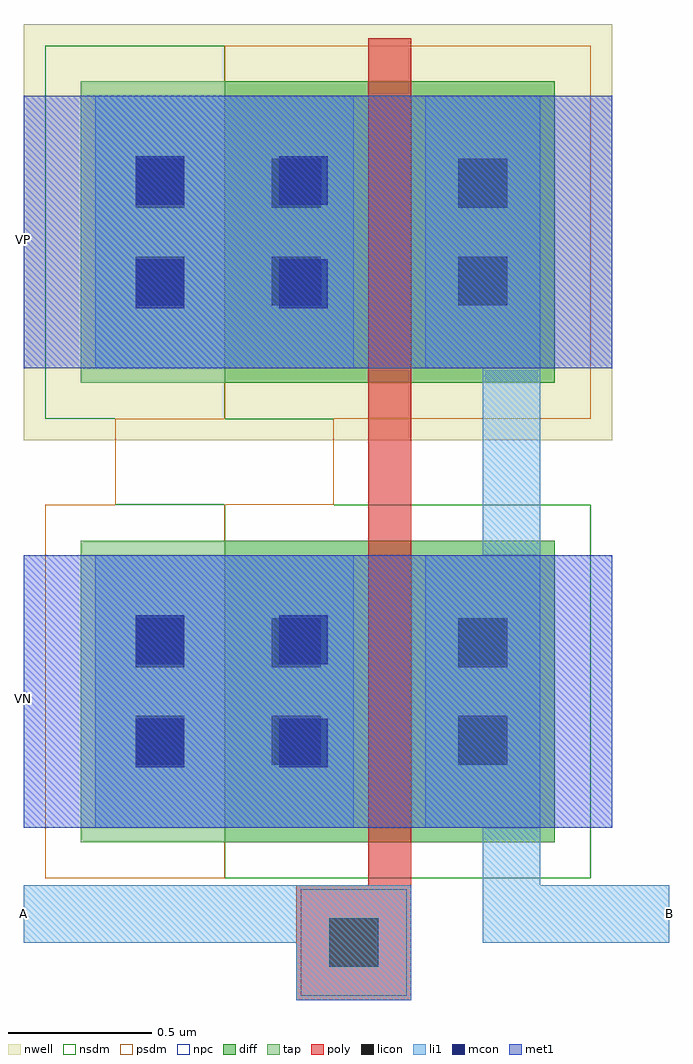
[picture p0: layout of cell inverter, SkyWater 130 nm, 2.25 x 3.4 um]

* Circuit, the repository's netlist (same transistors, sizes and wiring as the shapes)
* NGSPICE file created from inverter.ext - technology: sky130A

.subckt inverter A B VP VN
X0 B A VP VP sky130_fd_pr__pfet_01v8 ad=0.525 pd=3.1 as=0.525 ps=3.1 w=1.05 l=0.15
X1 B A VN VN sky130_fd_pr__nfet_01v8 ad=0.525 pd=3.1 as=0.525 ps=3.1 w=1.05 l=0.15
.ends

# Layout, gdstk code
import gdstk
lib = gdstk.Library(unit=1e-6, precision=1e-09)
def R(c, l, rs):  # rectangles x0, y0, x1, y1
    for r in rs: c.add(gdstk.rectangle(r[:2], r[2:], *l))
nwell = (64, 20)
diff = (65, 20)
tap = (65, 44)
poly = (66, 20)
licon = (66, 44)
li1 = (67, 20)
mcon = (67, 44)
met1 = (68, 20)
nsdm = (93, 44)
psdm = (94, 20)
npc = (95, 20)

inverter = lib.new_cell('inverter')
R(inverter, nwell, [(-1.2,0.35,0.85,1.8)])
R(inverter, diff, [(-0.5,-1.05,0.65,0), (-0.5,0.55,0.65,1.6)])
R(inverter, tap, [(-1,-1.05,-0.5,0), (-1,0.55,-0.5,1.6)])
R(inverter, poly, [(-0.25,-1.6,0.15,-1.2), (0,-1.2,0.15,1.75)])
R(inverter, licon, [(-0.135,-1.485,0.035,-1.315), (-0.81,-0.78,-0.64,-0.61), (-0.335,-0.78,-0.165,-0.61), (0.315,-0.78,0.485,-0.61), (-0.81,-0.44,-0.64,-0.27), (-0.335,-0.44,-0.165,-0.27), (0.315,-0.44,0.485,-0.27), (-0.81,0.82,-0.64,0.99), (-0.335,0.82,-0.165,0.99), (0.315,0.82,0.485,0.99), (-0.81,1.16,-0.64,1.33), (-0.335,1.16,-0.165,1.33), (0.315,1.16,0.485,1.33)])
R(inverter, li1, [(-0.25,-1.6,0.15,-1.4), (-1.2,-1.4,0.15,-1.2), (0.4,-1.4,1.05,-1.2), (0.4,-1.2,0.6,-1), (-0.95,-1,-0.05,-0.05), (0.2,-1,0.6,-0.05), (0.4,-0.05,0.6,0.6), (-0.95,0.6,-0.05,1.55), (0.2,0.6,0.6,1.55)])
R(inverter, mcon, [(-0.81,-0.79,-0.64,-0.62), (-0.31,-0.79,-0.14,-0.62), (-0.81,-0.43,-0.64,-0.26), (-0.31,-0.43,-0.14,-0.26), (-0.81,0.81,-0.64,0.98), (-0.31,0.81,-0.14,0.98), (-0.81,1.17,-0.64,1.34), (-0.31,1.17,-0.14,1.34)])
R(inverter, met1, [(-1.2,-1,0.85,-0.05), (-1.2,0.6,0.85,1.55)])
R(inverter, nsdm, [(-0.5,-1.175,0.775,0.125), (-0.88,0.125,-0.12,0.425), (-1.125,0.425,-0.5,1.725)])
R(inverter, psdm, [(-1.125,-1.175,-0.5,0.125), (-0.88,0.125,-0.12,0.425), (-0.5,0.425,0.775,1.725)])
R(inverter, npc, [(-0.235,-1.585,0.135,-1.215)])
inverter.add(gdstk.Label('A', (-1.2,-1.3), layer=67, texttype=5))
inverter.add(gdstk.Label('B', (1.05,-1.3), layer=67, texttype=5))
inverter.add(gdstk.Label('VP', (-1.2,1.05), layer=68, texttype=5))
inverter.add(gdstk.Label('VN', (-1.2,-0.55), layer=68, texttype=5))

lib.write_gds('inverter.gds')
